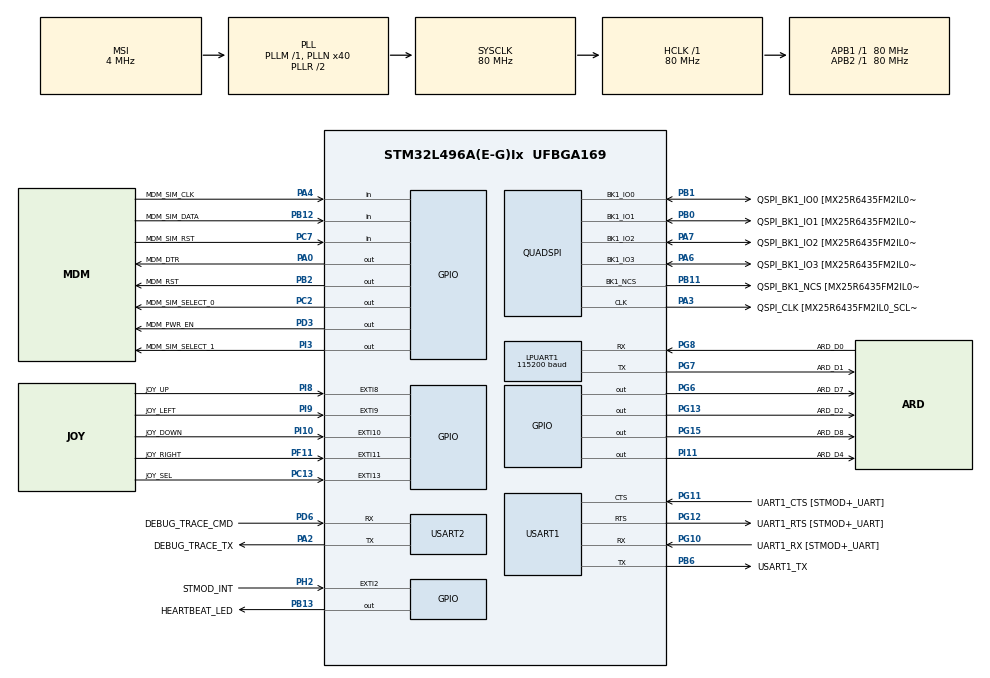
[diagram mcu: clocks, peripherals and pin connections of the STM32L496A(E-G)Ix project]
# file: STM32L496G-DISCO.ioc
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Dma.Request0=USART2_RX
Dma.USART2_RX.0.Direction=DMA_PERIPH_TO_MEMORY
Dma.USART2_RX.0.Instance=DMA1_Channel6
Dma.USART2_RX.0.MemDataAlignment=DMA_MDATAALIGN_BYTE
Dma.USART2_RX.0.MemInc=DMA_MINC_ENABLE
Dma.USART2_RX.0.Mode=DMA_NORMAL
Dma.USART2_RX.0.PeriphDataAlignment=DMA_PDATAALIGN_BYTE
Dma.USART2_RX.0.PeriphInc=DMA_PINC_DISABLE
Dma.USART2_RX.0.Priority=DMA_PRIORITY_LOW
FREERTOS.INCLUDE_uxTaskGetStackHighWaterMark=1
FREERTOS.INCLUDE_vTaskDelayUntil=1
FREERTOS.Tasks01=defaultTask,0,128,StartDefaultTask,Default,NULL,Dynamic,NULL,NULL
FREERTOS.configTOTAL_HEAP_SIZE=18432
FREERTOS.configUSE_COUNTING_SEMAPHORES=1
FREERTOS.configUSE_TIMERS=1
LPUART1.BaudRate=115200
LPUART1.WordLength=UART_WORDLENGTH_8B
Mcu.Family=STM32L4
Mcu.Name=STM32L496A(E-G)Ix
Mcu.Package=UFBGA169
NVIC.DMA1_Channel6_IRQn=true\:5\:0\:false\:false\:true\:true\:false\:true\:true
NVIC.EXTI15_10_IRQn=true\:5\:0\:false\:false\:true\:true\:true\:true\:true
NVIC.EXTI9_5_IRQn=true\:5\:0\:false\:false\:true\:true\:true\:true\:true
NVIC.LPUART1_IRQn=true\:5\:0\:false\:false\:true\:true\:true\:true\:true
NVIC.PriorityGroup=NVIC_PRIORITYGROUP_4
NVIC.TIM3_IRQn=true\:0\:0\:false\:false\:true\:false\:false\:true\:true
NVIC.TimeBase=TIM3_IRQn
NVIC.TimeBaseIP=TIM3
NVIC.USART1_IRQn=true\:5\:0\:false\:false\:true\:true\:true\:true\:true
NVIC.USART2_IRQn=true\:5\:0\:false\:false\:true\:true\:true\:true\:true
PA0.GPIO_Label=MDM_DTR
PA0.PinState=GPIO_PIN_RESET
PA0.Signal=GPIO_Output
PA1.GPIO_Label=ARD_A4
PA1.Signal=ADCx_IN6
PA10.GPIO_Label=USB_OTGFS_ID
PA10.Signal=USB_OTG_FS_ID
PA11.GPIO_Label=USB_OTGFS_DM
PA11.Signal=USB_OTG_FS_DM
PA12.GPIO_Label=USB_OTGFS_DP
PA12.Signal=USB_OTG_FS_DP
PA13\ (JTMS/SWDIO).GPIO_Label=SWDIO
PA13\ (JTMS/SWDIO).Signal=SYS_JTMS-SWDIO
PA14\ (JTCK/SWCLK).GPIO_Label=SWCLK
PA14\ (JTCK/SWCLK).Signal=SYS_JTCK-SWCLK
PA15\ (JTDI).GPIO_Label=ARD_D10
PA15\ (JTDI).Signal=SPI1_NSS
PA2.GPIO_Label=DEBUG_TRACE_TX
PA2.Mode=Asynchronous
PA2.Signal=USART2_TX
PA3.GPIO_Label=QSPI_CLK [MX25R6435FM2IL0_SCLK]
PA3.Mode=Single Bank 1
PA3.Signal=QUADSPI_CLK
PA4.GPIO_Label=MDM_SIM_CLK
PA4.Signal=GPIO_Input
PA5.GPIO_Label=ARD_D13
PA5.Signal=SPI1_SCK
PA6.GPIO_Label=QSPI_BK1_IO3 [MX25R6435FM2IL0_SIO3]
PA6.Mode=Single Bank 1
PA6.Signal=QUADSPI_BK1_IO3
PA7.GPIO_Label=QSPI_BK1_IO2 [MX25R6435FM2IL0_SIO2]
PA7.Mode=Single Bank 1
PA7.Signal=QUADSPI_BK1_IO2
PA8.GPIO_Label=DCMI_CLK
PA8.Signal=LPTIM2_OUT
PA9.GPIO_Label=USB_OTGFS_VBUS
PA9.Signal=USB_OTG_FS_VBUS
PB0.GPIO_Label=QSPI_BK1_IO1 [MX25R6435FM2IL0_SIO1]
PB0.Mode=Single Bank 1
PB0.Signal=QUADSPI_BK1_IO1
PB1.GPIO_Label=QSPI_BK1_IO0 [MX25R6435FM2IL0_SIO0]
PB1.Mode=Single Bank 1
PB1.Signal=QUADSPI_BK1_IO0
PB10.GPIO_Label=SAI1_CKA [SLCK_CS42L51]
PB10.Signal=SAI1_SCK_A
PB11.GPIO_Label=QSPI_BK1_NCS [MX25R6435FM2IL0_CS]
PB11.Mode=Single Bank 1
PB11.Signal=QUADSPI_BK1_NCS
PB12.GPIO_Label=MDM_SIM_DATA
PB12.Signal=GPIO_Input
PB13.GPIO_Label=HEARTBEAT_LED
PB13.GPIO_ModeDefaultOutputPP=GPIO_MODE_OUTPUT_OD
PB13.GPIO_PuPd=GPIO_NOPULL
PB13.Signal=GPIO_Output
PB14.GPIO_Label=I2C2_SDA [CS42L51_SDA]
PB14.Signal=I2C2_SDA
PB15.GPIO_Label=SPI2_MOSI
PB15.Signal=SPI2_MOSI
PB2.GPIO_Label=MDM_RST
PB2.PinState=GPIO_PIN_SET
PB2.Signal=GPIO_Output
PB3\ (JTDO/TRACESWO).GPIO_Label=SWO
PB3\ (JTDO/TRACESWO).Signal=SYS_JTDO-SWO
PB4\ (NJTRST).GPIO_Label=ARD_D12
PB4\ (NJTRST).Signal=SPI1_MISO
PB5.GPIO_Label=ARD_D11
PB5.Signal=SPI1_MOSI
PB6.GPIO_Label=USART1_TX
PB6.Mode=Asynchronous
PB6.Signal=USART1_TX
PB7.GPIO_Label=I2C1_SDA
PB7.Signal=I2C1_SDA
PB9.GPIO_Label=ARD_D5
PB9.Signal=S_TIM4_CH4
PC0.GPIO_Label=ARD_A5
PC0.Signal=ADCx_IN1
PC1.Signal=ADCx_IN2
PC10.GPIO_Label=uSD_D2
PC10.Signal=SDMMC1_D2
PC11.GPIO_Label=uSD_D3
PC11.Signal=SDMMC1_D3
PC12.GPIO_Label=uSD_CLK
PC12.Signal=SDMMC1_CK
PC13.GPIO_Label=JOY_SEL
PC13.GPIO_PuPd=GPIO_PULLDOWN
PC13.Signal=GPXTI13
PC14-OSC32_IN\ (PC14).Signal=RCC_OSC32_IN
PC15-OSC32_OUT\ (PC15).Signal=RCC_OSC32_OUT
PC2.GPIO_Label=MDM_SIM_SELECT_0
PC2.GPIO_PuPd=GPIO_PULLDOWN
PC2.Signal=GPIO_Output
PC3.GPIO_Label=ARD_A2
PC3.Signal=ADCx_IN4
PC4.GPIO_Label=ARD_A0
PC4.Signal=ADCx_IN13
PC7.GPIO_Label=MDM_SIM_RST
PC7.Signal=GPIO_Input
PC8.GPIO_Label=uSD_D0
PC8.Signal=SDMMC1_D0
PC9.GPIO_Label=uSD_D1
PC9.Signal=SDMMC1_D1
PD0.GPIO_Label=D2 [D2_ IS66WV51216EBLL]
PD0.Signal=FMC_D2_DA2
PD1.GPIO_Label=D3 [D3_IS66WV51216EBLL]
PD1.Signal=FMC_D3_DA3
PD10.GPIO_Label=D15 [D15_IS66WV51216EBLL]
PD10.Signal=FMC_D15_DA15
PD11.GPIO_Label=PSRAM_A16 [A16_IS66WV51216EBLL]
PD11.Signal=FMC_A16_CLE
PD12.GPIO_Label=PSRAM_A17 [A17_IS66WV51216EBLL]
PD12.Signal=FMC_A17_ALE
PD13.GPIO_Label=PSRAM_A18_LCD_RS [A18_IS66WV51216EBLL]
PD13.Signal=FMC_A18
PD14.GPIO_Label=D0 [D0_IS66WV51216EBLL]
PD14.Signal=FMC_D0_DA0
PD15.GPIO_Label=D1 [D1_IS66WV51216EBLL]
PD15.Signal=FMC_D1_DA1
PD2.GPIO_Label=uSD_CMD
PD2.Signal=SDMMC1_CMD
PD3.GPIO_Label=MDM_PWR_EN
PD3.PinState=GPIO_PIN_SET
PD3.Signal=GPIO_Output
PD4.GPIO_Label=OE [OE_IS66WV51216EBLL]
PD4.Signal=FMC_NOE
PD5.GPIO_Label=WE [WE_IS66WV51216EBLL]
PD5.Signal=FMC_NWE
PD6.GPIO_Label=DEBUG_TRACE_CMD
PD6.Mode=Asynchronous
PD6.Signal=USART2_RX
PD7.GPIO_Label=LCD_NE
PD7.Signal=FMC_NE1
PD8.GPIO_Label=D13 [D13_IS66WV51216EBLL]
PD8.Signal=FMC_D13_DA13
PD9.GPIO_Label=D14 [D14_IS66WV51216EBLL]
PD9.Signal=FMC_D14_DA14
PE0.GPIO_Label=PSRAM_NBL0 [LB_IS66WV51216EBLL]
PE0.Signal=FMC_NBL0
PE1.GPIO_Label=PSRAM_NBL1 [UB_IS66WV51216EBLL]
PE1.Signal=FMC_NBL1
PE10.GPIO_Label=D7 [D7_IS66WV51216EBLL]
PE10.Signal=FMC_D7_DA7
PE11.GPIO_Label=D8  [D8_IS66WV51216EBLL]
PE11.Signal=FMC_D8_DA8
PE12.GPIO_Label=D9 [D9_IS66WV51216EBLL]
PE12.Signal=FMC_D9_DA9
PE13.GPIO_Label=D10 [D10_IS66WV51216EBLL]
PE13.Signal=FMC_D10_DA10
PE14.GPIO_Label=D11 [D11_IS66WV51216EBLL]
PE14.Signal=FMC_D11_DA11
PE15.GPIO_Label=D12 [D12_IS66WV51216EBLL]
PE15.Signal=FMC_D12_DA12
PE2.GPIO_Label=SAI1_MCKA [MCLK_CS42L51]
PE2.Signal=SAI1_MCLK_A
PE3.GPIO_Label=SAI1_SDB [SDOUT_CS42L51]
PE3.Signal=SAI1_SD_B
PE4.GPIO_Label=SAI1_FSA [LRCK_CS42L51]]
PE4.Signal=SAI1_FS_A
PE5.GPIO_Label=DCMI_D6
PE5.Signal=DCMI_D6
PE6.GPIO_Label=SAI1_SDA [SDIN_CS42L51]
PE6.Signal=SAI1_SD_A
PE7.GPIO_Label=D4 [D4_IS66WV51216EBLL]
PE7.Signal=FMC_D4_DA4
PE8.GPIO_Label=D5 [D5_IS66WV51216EBLL]
PE8.Signal=FMC_D5_DA5
PE9.GPIO_Label=D6 [D6_IS66WV51216EBLL]
PE9.Signal=FMC_D6_DA6
PF0.GPIO_Label=PSRAM_A0 [A0_IS66WV51216EBLL]
PF0.Signal=FMC_A0
PF1.GPIO_Label=PSRAM_A1 [A1_IS66WV51216EBLL]
PF1.Signal=FMC_A1
PF10.GPIO_Label=ARD_A3
PF10.Signal=ADC3_IN13
PF11.GPIO_Label=JOY_RIGHT
PF11.GPIO_ModeDefaultEXTI=GPIO_MODE_IT_RISING
PF11.GPIO_PuPd=GPIO_PULLDOWN
PF11.Signal=GPXTI11
PF12.GPIO_Label=PSRAM_A6 [A6_IS66WV51216EBLL]
PF12.Signal=FMC_A6
PF13.GPIO_Label=PSRAM_A7 [A7_IS66WV51216EBLL]
PF13.Signal=FMC_A7
PF14.GPIO_Label=PSRAM_A8 [A8_IS66WV51216EBLL]
PF14.Signal=FMC_A8
PF15.GPIO_Label=PSRAM_A9 [A9_IS66WV51216EBLL]
PF15.Signal=FMC_A9
PF2.GPIO_Label=PSRAM_A2 [A2_IS66WV51216EBLL]
PF2.Signal=FMC_A2
PF3.GPIO_Label=PSRAM_A3 [A3_IS66WV51216EBLL]
PF3.Signal=FMC_A3
PF4.GPIO_Label=PSRAM_A4 [A4_IS66WV51216EBLL]
PF4.Signal=FMC_A4
PF5.GPIO_Label=PSRAM_A5 [A5_IS66WV51216EBLL]
PF5.Signal=FMC_A5
PG0.GPIO_Label=PSRAM_A10 [A10_IS66WV51216EBLL]
PG0.Signal=FMC_A10
PG1.GPIO_Label=PSRAM_A11 [A11_IS66WV51216EBLL]
PG1.Signal=FMC_A11
PG10.GPIO_Label=UART1_RX [STMOD+_UART]
PG10.Mode=Asynchronous
PG10.Signal=USART1_RX
PG11.GPIO_Label=UART1_CTS [STMOD+_UART]
PG11.Mode=CTS_RTS
PG11.Signal=USART1_CTS
PG12.GPIO_Label=UART1_RTS [STMOD+_UART]
PG12.Mode=CTS_RTS
PG12.Signal=USART1_RTS
PG13.GPIO_Label=ARD_D2
PG13.Signal=GPIO_Output
PG15.GPIO_Label=ARD_D8
PG15.Signal=GPIO_Output
PG2.GPIO_Label=PSRAM_A12 [A12_IS66WV51216EBLL]
PG2.Signal=FMC_A12
PG3.GPIO_Label=PSRAM_A13 [A13_IS66WV51216EBLL]
PG3.Signal=FMC_A13
PG4.GPIO_Label=PSRAM_A14 [A14_IS66WV51216EBLL]
PG4.Signal=FMC_A14
PG5.GPIO_Label=PSRAM_A15 [A15_IS66WV51216EBLL]
PG5.Signal=FMC_A15
PG6.GPIO_Label=ARD_D7
PG6.Signal=GPIO_Output
PG7.GPIO_Label=ARD_D1
PG7.Mode=Asynchronous
PG7.Signal=LPUART1_TX
PG8.GPIO_Label=ARD_D0
PG8.Mode=Asynchronous
PG8.Signal=LPUART1_RX
PG9.GPIO_Label=PSRAM_NE [CS1_IS66WV51216EBLL]
PG9.Signal=FMC_NE2
PH10.GPIO_Label=DCMI_D1
PH10.Signal=DCMI_D1
PH11.GPIO_Label=DCMI_D2
PH11.Signal=DCMI_D2
PH12.GPIO_Label=DCMI_D3
PH12.Signal=DCMI_D3
PH13.GPIO_Label=ARD_D9
PH13.Signal=TIM8_CH1N
PH14.GPIO_Label=DCMI_D4
PH14.Signal=DCMI_D4
PH15.GPIO_Label=ARD_D3
PH15.Signal=TIM8_CH3N
PH2.GPIO_Label=STMOD_INT
PH2.Signal=GPXTI2
PH4.GPIO_Label=I2C2_SCL [SCL_CS42L51]
PH4.Signal=I2C2_SCL
PH5.GPIO_Label=DCMI_PIXCK
PH5.Signal=DCMI_PIXCLK
PH8.GPIO_Label=DCMI_HSYNC
PH8.Signal=DCMI_HSYNC
PH9.GPIO_Label=DCMI_D0
PH9.Signal=DCMI_D0
PI1.GPIO_Label=SPI2_CLK [STMOD+_SPI]
PI1.Signal=SPI2_SCK
PI10.GPIO_Label=JOY_DOWN
PI10.GPIO_PuPd=GPIO_PULLDOWN
PI10.Signal=GPXTI10
PI11.GPIO_Label=ARD_D4
PI11.Signal=GPIO_Output
PI2.GPIO_Label=SPI2_MISO [STMOD+_SPI]
PI2.Signal=SPI2_MISO
PI3.GPIO_Label=MDM_SIM_SELECT_1
PI3.GPIO_PuPd=GPIO_PULLDOWN
PI3.Signal=GPIO_Output
PI4.GPIO_Label=DCMI_D5
PI4.Signal=DCMI_D5
PI5.GPIO_Label=DCMI_VSYNC
PI5.Signal=DCMI_VSYNC
PI6.GPIO_Label=ARD_D6
PI6.Signal=S_TIM8_CH2
PI7.GPIO_Label=DCMI_D7
PI7.Signal=DCMI_D7
PI8.GPIO_Label=JOY_UP
PI8.GPIO_ModeDefaultEXTI=GPIO_MODE_IT_RISING
PI8.GPIO_PuPd=GPIO_PULLDOWN
PI8.Signal=GPXTI8
PI9.GPIO_Label=JOY_LEFT
PI9.GPIO_ModeDefaultEXTI=GPIO_MODE_IT_RISING
PI9.GPIO_PuPd=GPIO_PULLDOWN
PI9.Signal=GPXTI9
ProjectManager.HeapSize=0x200
ProjectManager.StackSize=0x400
ProjectManager.TargetToolchain=STM32CubeIDE
QUADSPI.ClockPrescaler=2
QUADSPI.FifoThreshold=4
QUADSPI.FlashSize=23
QUADSPI.SampleShifting=QSPI_SAMPLE_SHIFTING_HALFCYCLE
RCC.ADCFreq_Value=40000000
RCC.AHBFreq_Value=80000000
RCC.APB1Freq_Value=80000000
RCC.APB1TimFreq_Value=80000000
RCC.APB2Freq_Value=80000000
RCC.APB2TimFreq_Value=80000000
RCC.CortexFreq_Value=80000000
RCC.HCLKFreq_Value=80000000
RCC.HSE_VALUE=8000000
RCC.HSI48_VALUE=48000000
RCC.HSI_VALUE=16000000
RCC.LSE_VALUE=32768
RCC.MSI_VALUE=4000000
RCC.PLLN=40
RCC.PLLSAI1N=20
RCC.SYSCLKFreq_VALUE=80000000
RCC.SYSCLKSource=RCC_SYSCLKSOURCE_PLLCLK
RCC.USBFreq_Value=40000000
RCC.VCOOutputFreq_Value=160000000
SH.ADCx_IN1.0=ADC2_IN1
SH.ADCx_IN13.0=ADC1_IN13
SH.ADCx_IN2.0=ADC2_IN2
SH.ADCx_IN4.0=ADC1_IN4
SH.ADCx_IN6.0=ADC2_IN6
SH.FMC_A0.0=FMC_A0
SH.FMC_A1.0=FMC_A1
SH.FMC_A10.0=FMC_A10
SH.FMC_A11.0=FMC_A11
SH.FMC_A12.0=FMC_A12
SH.FMC_A13.0=FMC_A13
SH.FMC_A14.0=FMC_A14
SH.FMC_A15.0=FMC_A15
SH.FMC_A16_CLE.0=FMC_A16
SH.FMC_A17_ALE.0=FMC_A17
SH.FMC_A18.0=FMC_A18
SH.FMC_A2.0=FMC_A2
SH.FMC_A3.0=FMC_A3
SH.FMC_A4.0=FMC_A4
SH.FMC_A5.0=FMC_A5
SH.FMC_A6.0=FMC_A6
SH.FMC_A7.0=FMC_A7
SH.FMC_A8.0=FMC_A8
SH.FMC_A9.0=FMC_A9
SH.FMC_D0_DA0.0=FMC_D0
SH.FMC_D10_DA10.0=FMC_D10
SH.FMC_D11_DA11.0=FMC_D11
SH.FMC_D12_DA12.0=FMC_D12
SH.FMC_D13_DA13.0=FMC_D13
SH.FMC_D14_DA14.0=FMC_D14
SH.FMC_D15_DA15.0=FMC_D15
SH.FMC_D1_DA1.0=FMC_D1
SH.FMC_D2_DA2.0=FMC_D2
SH.FMC_D3_DA3.0=FMC_D3
SH.FMC_D4_DA4.0=FMC_D4
SH.FMC_D5_DA5.0=FMC_D5
SH.FMC_D6_DA6.0=FMC_D6
SH.FMC_D7_DA7.0=FMC_D7
SH.FMC_D8_DA8.0=FMC_D8
SH.FMC_D9_DA9.0=FMC_D9
SH.FMC_NBL0.0=FMC_NBL0
SH.FMC_NBL1.0=FMC_NBL1
SH.FMC_NOE.0=FMC_NOE
SH.FMC_NWE.0=FMC_NWE
SH.S_TIM4_CH4.0=TIM4_CH4
SH.S_TIM8_CH2.0=TIM8_CH2
USART1.VirtualMode-Asynchronous=VM_ASYNC
USART1.WordLength=WORDLENGTH_8B
USART2.VirtualMode-Asynchronous=VM_ASYNC
USART2.WordLength=WORDLENGTH_8B
VP_FREERTOS_VS_CMSIS_V1.Mode=CMSIS_V1
VP_RNG_VS_RNG.Mode=RNG_Activate
VP_RTC_VS_RTC_Activate.Mode=RTC_Enabled
VP_SYS_VS_tim3.Mode=TIM3
board=STM32L496G-DISCO

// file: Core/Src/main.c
/* USER CODE BEGIN Header */
/**
  ******************************************************************************
  * @file           : main.c
  * @brief          : Main program body
  ******************************************************************************
  * @attention
  *
  * <h2><center>&copy; Copyright (c) 2021 STMicroelectronics.
  * All rights reserved.</center></h2>
  *
  * This software component is licensed by ST under Ultimate Liberty license
  * SLA0044, the "License"; You may not use this file except in compliance with
  * the License. You may obtain a copy of the License at:
  *                             www.st.com/SLA0044
  *
  ******************************************************************************
  */
/* USER CODE END Header */
#include "main.h"
#include "cmsis_os.h"
#include "dma.h"
#include "usart.h"
#include "quadspi.h"
#include "rng.h"
#include "rtc.h"
#include "gpio.h"
#ifdef USE_FW_UPDATE
#include "flash_if.h"
#endif /* USE_FW_UPDATE */

/* USER CODE BEGIN Includes */
#include "menu.h"

/* USER CODE END Includes */

/* USER CODE BEGIN PV */
UART_HandleTypeDef *const g_console_huart = &huart2;
/* USER CODE END PV */

void SystemClock_Config(void);
void MX_FREERTOS_Init(void);

int main(void)
{
  /* USER CODE BEGIN 1 */
#ifdef HAL_IWDG_MODULE_ENABLED
  WRITE_REG(IWDG->KR, IWDG_KEY_RELOAD);
#endif
  /* USER CODE END 1 */

  /* MCU Configuration--------------------------------------------------------*/

  /* Reset of all peripherals, Initializes the Flash interface and the Systick. */
  HAL_Init();

  /* Configure the system clock */
  SystemClock_Config();

  /* Initialize all configured peripherals */
  MX_GPIO_Init();
  MX_DMA_Init();
  MX_USART2_UART_Init();
  MX_USART1_UART_Init();
  MX_RTC_Init();
  MX_LPUART1_UART_Init();
  MX_RNG_Init();
  MX_QUADSPI_Init();
  /* USER CODE BEGIN 2 */
#ifdef USE_FW_UPDATE
  FLASH_If_Init();
  WRITE_REG(IWDG->KR, IWDG_KEY_RELOAD);
#endif
  /* USER CODE END 2 */

  /* Call init function for freertos objects (in freertos.c) */
  MX_FREERTOS_Init();

  /* Start scheduler */
  osKernelStart();

  /* We should never get here as control is now taken by the scheduler */
  /* Infinite loop */
  while (1)
  {

  }
}

void SystemClock_Config(void)
{
  RCC_OscInitTypeDef RCC_OscInitStruct = {0};
  RCC_ClkInitTypeDef RCC_ClkInitStruct = {0};

  /** Configure the main internal regulator output voltage
  */
  if (HAL_PWREx_ControlVoltageScaling(PWR_REGULATOR_VOLTAGE_SCALE1) != HAL_OK)
  {
    Error_Handler();
  }

  /** Initializes the RCC Oscillators according to the specified parameters
  * in the RCC_OscInitTypeDef structure.
  */
  RCC_OscInitStruct.OscillatorType = RCC_OSCILLATORTYPE_LSI|RCC_OSCILLATORTYPE_MSI;
  RCC_OscInitStruct.LSIState = RCC_LSI_ON;
  RCC_OscInitStruct.MSIState = RCC_MSI_ON;
  RCC_OscInitStruct.MSICalibrationValue = 0;
  RCC_OscInitStruct.MSIClockRange = RCC_MSIRANGE_6;
  RCC_OscInitStruct.PLL.PLLState = RCC_PLL_ON;
  RCC_OscInitStruct.PLL.PLLSource = RCC_PLLSOURCE_MSI;
  RCC_OscInitStruct.PLL.PLLM = 1;
  RCC_OscInitStruct.PLL.PLLN = 40;
  RCC_OscInitStruct.PLL.PLLP = RCC_PLLP_DIV2;
  RCC_OscInitStruct.PLL.PLLQ = RCC_PLLQ_DIV2;
  RCC_OscInitStruct.PLL.PLLR = RCC_PLLR_DIV2;
  if (HAL_RCC_OscConfig(&RCC_OscInitStruct) != HAL_OK)
  {
    Error_Handler();
  }

  /** Initializes the CPU, AHB and APB buses clocks
  */
  RCC_ClkInitStruct.ClockType = RCC_CLOCKTYPE_HCLK|RCC_CLOCKTYPE_SYSCLK
                              |RCC_CLOCKTYPE_PCLK1|RCC_CLOCKTYPE_PCLK2;
  RCC_ClkInitStruct.SYSCLKSource = RCC_SYSCLKSOURCE_PLLCLK;
  RCC_ClkInitStruct.AHBCLKDivider = RCC_SYSCLK_DIV1;
  RCC_ClkInitStruct.APB1CLKDivider = RCC_HCLK_DIV1;
  RCC_ClkInitStruct.APB2CLKDivider = RCC_HCLK_DIV1;

  if (HAL_RCC_ClockConfig(&RCC_ClkInitStruct, FLASH_LATENCY_4) != HAL_OK)
  {
    Error_Handler();
  }
}

void HAL_TIM_PeriodElapsedCallback(TIM_HandleTypeDef *htim)
{
  if (htim->Instance == TIM3) {
    HAL_IncTick();
  }
}

void Error_Handler(void)
{
  __disable_irq();
  while (1)
  {
  }
}

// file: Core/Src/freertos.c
/* USER CODE BEGIN Header */
/**
  ******************************************************************************
  * File Name          : freertos.c
  * Description        : Code for freertos applications
  ******************************************************************************
  * @attention
  *
  * <h2><center>&copy; Copyright (c) 2021 STMicroelectronics.
  * All rights reserved.</center></h2>
  *
  * This software component is licensed by ST under Ultimate Liberty license
  * SLA0044, the "License"; You may not use this file except in compliance with
  * the License. You may obtain a copy of the License at:
  *                             www.st.com/SLA0044
  *
  ******************************************************************************
  */
/* USER CODE END Header */

#include "FreeRTOS.h"
#include "task.h"
#include "main.h"
#include "cmsis_os.h"

/* USER CODE BEGIN Includes */
#include "application.h"
/* USER CODE END Includes */

osThreadId defaultTaskHandle;

void StartDefaultTask(void const * argument);

void MX_FREERTOS_Init(void); /* (MISRA C 2004 rule 8.1) */

/* GetIdleTaskMemory prototype (linked to static allocation support) */
void vApplicationGetIdleTaskMemory( StaticTask_t **ppxIdleTaskTCBBuffer, StackType_t **ppxIdleTaskStackBuffer, uint32_t *pulIdleTaskStackSize );

/* GetTimerTaskMemory prototype (linked to static allocation support) */
void vApplicationGetTimerTaskMemory( StaticTask_t **ppxTimerTaskTCBBuffer, StackType_t **ppxTimerTaskStackBuffer, uint32_t *pulTimerTaskStackSize );

/* USER CODE BEGIN GET_IDLE_TASK_MEMORY */
static StaticTask_t xIdleTaskTCBBuffer;
static StackType_t xIdleStack[configMINIMAL_STACK_SIZE];

void vApplicationGetIdleTaskMemory( StaticTask_t **ppxIdleTaskTCBBuffer, StackType_t **ppxIdleTaskStackBuffer, uint32_t *pulIdleTaskStackSize )
{
  *ppxIdleTaskTCBBuffer = &xIdleTaskTCBBuffer;
  *ppxIdleTaskStackBuffer = &xIdleStack[0];
  *pulIdleTaskStackSize = configMINIMAL_STACK_SIZE;
  /* place for user code */
}
/* USER CODE END GET_IDLE_TASK_MEMORY */

void vApplicationStackOverflowHook(TaskHandle_t xTask, signed char *pcTaskName)
{
  while (1) {}
}

/* USER CODE BEGIN GET_TIMER_TASK_MEMORY */
static StaticTask_t xTimerTaskTCBBuffer;
static StackType_t xTimerStack[configTIMER_TASK_STACK_DEPTH];

void vApplicationGetTimerTaskMemory( StaticTask_t **ppxTimerTaskTCBBuffer, StackType_t **ppxTimerTaskStackBuffer, uint32_t *pulTimerTaskStackSize )
{
  *ppxTimerTaskTCBBuffer = &xTimerTaskTCBBuffer;
  *ppxTimerTaskStackBuffer = &xTimerStack[0];
  *pulTimerTaskStackSize = configTIMER_TASK_STACK_DEPTH;
  /* place for user code */
}
/* USER CODE END GET_TIMER_TASK_MEMORY */

void MX_FREERTOS_Init(void) {
  /* USER CODE BEGIN Init */
  application_init();
  /* USER CODE END Init */

  /* Create the thread(s) */
  /* definition and creation of defaultTask */
  osThreadDef(defaultTask, StartDefaultTask, osPriorityNormal, 0, 128);
  defaultTaskHandle = osThreadCreate(osThread(defaultTask), NULL);

}

void StartDefaultTask(void const * argument)
{
  /* USER CODE BEGIN StartDefaultTask */
  /* Infinite loop */
  for(;;)
  {
#ifdef HAL_IWDG_MODULE_ENABLED
	  WRITE_REG(IWDG->KR, IWDG_KEY_RELOAD);
#endif
    osDelay(1000);
  }
  /* USER CODE END StartDefaultTask */
}
